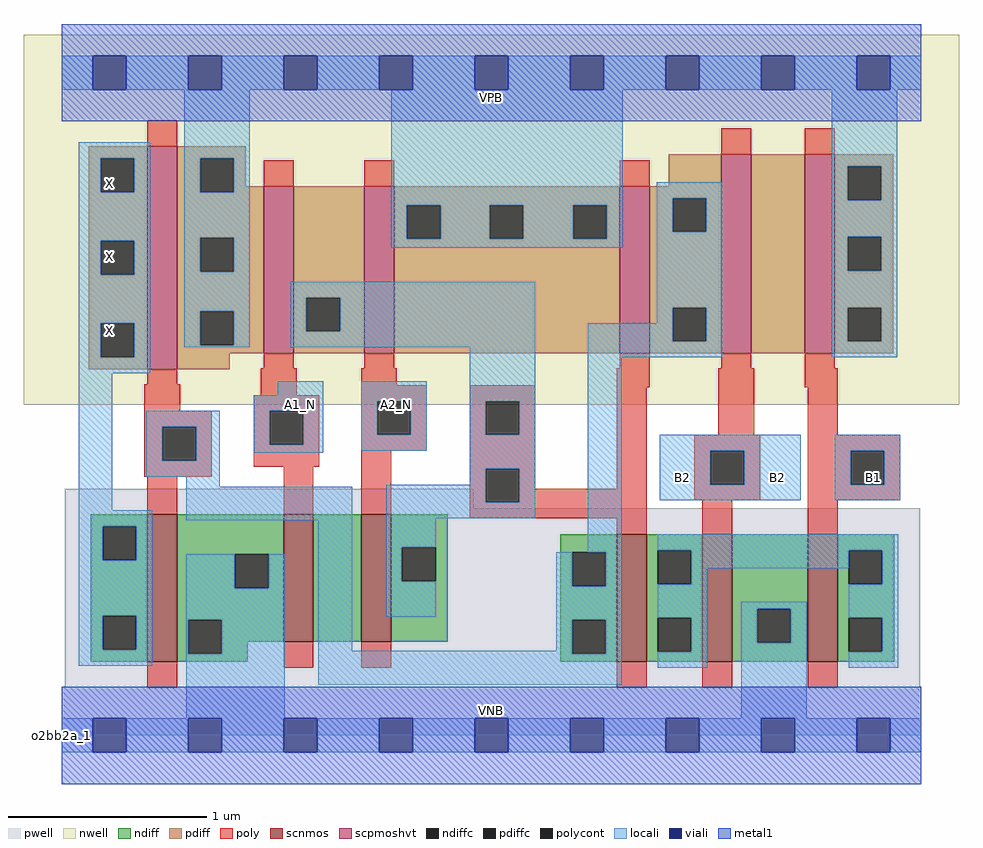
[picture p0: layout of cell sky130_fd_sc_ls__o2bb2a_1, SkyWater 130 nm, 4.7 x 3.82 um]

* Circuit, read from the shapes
.subckt sky130_fd_sc_ls__o2bb2a_1 A1_N A2_N B1 B2 VGND VNB VPB VPWR X
XM1 VGND n1 X VNB sky130_fd_pr__nfet_01v8 w=0.74 l=0.15
XM2 n2 A1_N VGND VNB sky130_fd_pr__nfet_01v8 w=0.64 l=0.15
XM3 n3 A2_N n2 VNB sky130_fd_pr__nfet_01v8 w=0.64 l=0.15
XM4 n4 n3 n1 VNB sky130_fd_pr__nfet_01v8 w=0.64 l=0.15
XM5 VGND B2 n4 VNB sky130_fd_pr__nfet_01v8 w=0.64 l=0.15
XM6 n4 B1 VGND VNB sky130_fd_pr__nfet_01v8 w=0.64 l=0.15
XM7 VPWR n1 X VPB sky130_fd_pr__pfet_01v8_hvt w=1.12 l=0.15
XM8 n3 A1_N VPWR VPB sky130_fd_pr__pfet_01v8_hvt w=0.84 l=0.15
XM9 VPWR A2_N n3 VPB sky130_fd_pr__pfet_01v8_hvt w=0.84 l=0.15
XM10 n1 n3 VPWR VPB sky130_fd_pr__pfet_01v8_hvt w=0.84 l=0.15
XM11 n5 B2 n1 VPB sky130_fd_pr__pfet_01v8_hvt w=1 l=0.15
XM12 VPWR B1 n5 VPB sky130_fd_pr__pfet_01v8_hvt w=1 l=0.15
.ends

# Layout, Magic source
magic
tech sky130A
magscale 1 2
<< nwell >>
rect -38 332 902 704
<< pwell >>
rect 3 228 414 248
rect 3 49 863 228
rect 0 0 864 49
<< scnmos >>
rect 86 74 116 222
rect 223 94 253 222
rect 301 94 331 222
rect 558 74 588 202
rect 644 74 674 202
rect 750 74 780 202
<< scpmoshvt >>
rect 86 368 116 592
rect 203 384 233 552
rect 304 384 334 552
rect 561 384 591 552
rect 663 384 693 584
rect 747 384 777 584
<< ndiff >>
rect 29 210 86 222
rect 29 176 41 210
rect 75 176 86 210
rect 29 120 86 176
rect 29 86 41 120
rect 75 86 86 120
rect 29 74 86 86
rect 116 182 223 222
rect 116 148 174 182
rect 208 148 223 182
rect 116 116 223 148
rect 116 82 127 116
rect 161 94 223 116
rect 253 94 301 222
rect 331 189 388 222
rect 331 155 342 189
rect 376 155 388 189
rect 331 94 388 155
rect 501 184 558 202
rect 501 150 513 184
rect 547 150 558 184
rect 501 116 558 150
rect 161 82 187 94
rect 116 74 187 82
rect 501 82 513 116
rect 547 82 558 116
rect 501 74 558 82
rect 588 186 644 202
rect 588 152 599 186
rect 633 152 644 186
rect 588 118 644 152
rect 588 84 599 118
rect 633 84 644 118
rect 588 74 644 84
rect 674 127 750 202
rect 674 93 699 127
rect 733 93 750 127
rect 674 74 750 93
rect 780 186 837 202
rect 780 152 791 186
rect 825 152 837 186
rect 780 118 837 152
rect 780 84 791 118
rect 825 84 837 118
rect 780 74 837 84
<< pdiff >>
rect 27 580 86 592
rect 27 546 39 580
rect 73 546 86 580
rect 27 497 86 546
rect 27 463 39 497
rect 73 463 86 497
rect 27 414 86 463
rect 27 380 39 414
rect 73 380 86 414
rect 27 368 86 380
rect 116 580 185 592
rect 116 546 139 580
rect 173 552 185 580
rect 610 552 663 584
rect 173 546 203 552
rect 116 500 203 546
rect 116 466 139 500
rect 173 466 203 500
rect 116 426 203 466
rect 116 392 139 426
rect 173 392 203 426
rect 116 384 203 392
rect 233 440 304 552
rect 233 406 246 440
rect 280 406 304 440
rect 233 384 304 406
rect 334 533 561 552
rect 334 499 347 533
rect 381 499 430 533
rect 464 499 514 533
rect 548 499 561 533
rect 334 384 561 499
rect 591 540 663 552
rect 591 506 614 540
rect 648 506 663 540
rect 591 430 663 506
rect 591 396 614 430
rect 648 396 663 430
rect 591 384 663 396
rect 693 384 747 584
rect 777 572 836 584
rect 777 538 790 572
rect 824 538 836 572
rect 777 501 836 538
rect 777 467 790 501
rect 824 467 836 501
rect 777 430 836 467
rect 777 396 790 430
rect 824 396 836 430
rect 777 384 836 396
rect 116 368 169 384
<< ndiffc >>
rect 41 176 75 210
rect 41 86 75 120
rect 174 148 208 182
rect 127 82 161 116
rect 342 155 376 189
rect 513 150 547 184
rect 513 82 547 116
rect 599 152 633 186
rect 599 84 633 118
rect 699 93 733 127
rect 791 152 825 186
rect 791 84 825 118
<< pdiffc >>
rect 39 546 73 580
rect 39 463 73 497
rect 39 380 73 414
rect 139 546 173 580
rect 139 466 173 500
rect 139 392 173 426
rect 246 406 280 440
rect 347 499 381 533
rect 430 499 464 533
rect 514 499 548 533
rect 614 506 648 540
rect 614 396 648 430
rect 790 538 824 572
rect 790 467 824 501
rect 790 396 824 430
<< poly >>
rect 86 592 116 618
rect 663 584 693 610
rect 747 584 777 610
rect 203 552 233 578
rect 304 552 334 578
rect 561 552 591 578
rect 203 369 233 384
rect 304 369 334 384
rect 561 369 591 384
rect 663 369 693 384
rect 747 369 777 384
rect 86 353 116 368
rect 83 326 119 353
rect 200 342 236 369
rect 301 352 337 369
rect 193 326 259 342
rect 83 310 151 326
rect 83 276 101 310
rect 135 276 151 310
rect 83 260 151 276
rect 193 292 209 326
rect 243 292 259 326
rect 193 270 259 292
rect 301 336 367 352
rect 301 302 317 336
rect 351 302 367 336
rect 301 286 367 302
rect 410 336 476 352
rect 410 302 426 336
rect 460 302 476 336
rect 86 222 116 260
rect 223 222 253 270
rect 301 222 331 286
rect 410 268 476 302
rect 410 234 426 268
rect 460 248 476 268
rect 558 350 591 369
rect 558 248 588 350
rect 660 302 696 369
rect 747 350 780 369
rect 750 302 780 350
rect 460 234 588 248
rect 636 286 702 302
rect 636 252 652 286
rect 686 252 702 286
rect 636 236 702 252
rect 750 286 843 302
rect 750 252 793 286
rect 827 252 843 286
rect 750 236 843 252
rect 410 218 588 234
rect 558 202 588 218
rect 644 202 674 236
rect 750 202 780 236
rect 86 48 116 74
rect 223 68 253 94
rect 301 68 331 94
rect 558 48 588 74
rect 644 48 674 74
rect 750 48 780 74
<< polycont >>
rect 101 276 135 310
rect 209 292 243 326
rect 317 302 351 336
rect 426 302 460 336
rect 426 234 460 268
rect 652 252 686 286
rect 793 252 827 286
<< locali >>
rect 0 649 31 683
rect 65 649 127 683
rect 161 649 223 683
rect 257 649 319 683
rect 353 649 415 683
rect 449 649 511 683
rect 545 649 607 683
rect 641 649 703 683
rect 737 649 799 683
rect 833 649 864 683
rect 17 580 89 596
rect 17 546 39 580
rect 73 546 89 580
rect 17 497 89 546
rect 17 463 39 497
rect 73 463 89 497
rect 17 414 89 463
rect 17 380 39 414
rect 73 380 89 414
rect 123 580 189 649
rect 123 546 139 580
rect 173 546 189 580
rect 123 500 189 546
rect 123 466 139 500
rect 173 466 189 500
rect 331 533 564 649
rect 774 572 840 649
rect 331 499 347 533
rect 381 499 430 533
rect 464 499 514 533
rect 548 499 564 533
rect 331 490 564 499
rect 598 540 664 556
rect 598 506 614 540
rect 648 506 664 540
rect 123 426 189 466
rect 123 392 139 426
rect 173 392 189 426
rect 123 390 189 392
rect 230 440 476 456
rect 230 406 246 440
rect 280 406 476 440
rect 598 430 664 506
rect 598 414 614 430
rect 230 390 476 406
rect 17 364 89 380
rect 17 226 51 364
rect 217 342 263 356
rect 193 326 263 342
rect 85 310 159 326
rect 85 276 101 310
rect 135 276 159 310
rect 193 292 209 326
rect 243 292 263 326
rect 193 284 263 292
rect 301 336 367 356
rect 301 302 317 336
rect 351 302 367 336
rect 301 286 367 302
rect 410 336 476 390
rect 410 302 426 336
rect 460 302 476 336
rect 85 260 159 276
rect 125 250 159 260
rect 410 268 476 302
rect 410 252 426 268
rect 17 210 91 226
rect 125 216 292 250
rect 17 176 41 210
rect 75 176 91 210
rect 17 120 91 176
rect 17 86 41 120
rect 75 86 91 120
rect 17 70 91 86
rect 125 148 174 182
rect 208 148 224 182
rect 125 116 224 148
rect 125 82 127 116
rect 161 82 224 116
rect 125 17 224 82
rect 258 85 292 216
rect 326 234 426 252
rect 460 234 476 268
rect 326 218 476 234
rect 529 396 614 414
rect 648 396 664 430
rect 529 380 664 396
rect 774 538 790 572
rect 824 538 840 572
rect 774 501 840 538
rect 774 467 790 501
rect 824 467 840 501
rect 774 430 840 467
rect 774 396 790 430
rect 824 396 840 430
rect 774 380 840 396
rect 326 189 376 218
rect 326 155 342 189
rect 529 184 563 380
rect 601 286 743 302
rect 601 252 652 286
rect 686 252 743 286
rect 601 236 743 252
rect 777 286 843 302
rect 777 252 793 286
rect 827 252 843 286
rect 777 236 843 252
rect 326 119 376 155
rect 497 150 513 184
rect 547 150 563 184
rect 497 116 563 150
rect 497 85 513 116
rect 258 82 513 85
rect 547 82 563 116
rect 258 51 563 82
rect 599 186 841 202
rect 633 168 791 186
rect 633 152 649 168
rect 599 118 649 152
rect 825 152 841 186
rect 633 84 649 118
rect 599 68 649 84
rect 683 127 749 134
rect 683 93 699 127
rect 733 93 749 127
rect 683 17 749 93
rect 791 118 841 152
rect 825 84 841 118
rect 791 68 841 84
rect 0 -17 31 17
rect 65 -17 127 17
rect 161 -17 223 17
rect 257 -17 319 17
rect 353 -17 415 17
rect 449 -17 511 17
rect 545 -17 607 17
rect 641 -17 703 17
rect 737 -17 799 17
rect 833 -17 864 17
<< viali >>
rect 31 649 65 683
rect 127 649 161 683
rect 223 649 257 683
rect 319 649 353 683
rect 415 649 449 683
rect 511 649 545 683
rect 607 649 641 683
rect 703 649 737 683
rect 799 649 833 683
rect 31 -17 65 17
rect 127 -17 161 17
rect 223 -17 257 17
rect 319 -17 353 17
rect 415 -17 449 17
rect 511 -17 545 17
rect 607 -17 641 17
rect 703 -17 737 17
rect 799 -17 833 17
<< metal1 >>
rect 0 683 864 715
rect 0 649 31 683
rect 65 649 127 683
rect 161 649 223 683
rect 257 649 319 683
rect 353 649 415 683
rect 449 649 511 683
rect 545 649 607 683
rect 641 649 703 683
rect 737 649 799 683
rect 833 649 864 683
rect 0 617 864 649
rect 0 17 864 49
rect 0 -17 31 17
rect 65 -17 127 17
rect 161 -17 223 17
rect 257 -17 319 17
rect 353 -17 415 17
rect 449 -17 511 17
rect 545 -17 607 17
rect 641 -17 703 17
rect 737 -17 799 17
rect 833 -17 864 17
rect 0 -49 864 -17
<< labels >>
rlabel comment s 0 0 0 0 4 o2bb2a_1
flabel pwell s 0 0 864 49 0 FreeSans 200 0 0 0 VNB
port 6 nsew ground bidirectional
flabel nwell s 0 617 864 666 0 FreeSans 200 0 0 0 VPB
port 7 nsew power bidirectional
flabel metal1 s 0 617 864 666 0 FreeSans 340 0 0 0 VPWR
port 8 nsew power bidirectional abutment
flabel metal1 s 0 0 864 49 0 FreeSans 340 0 0 0 VGND
port 5 nsew ground bidirectional abutment
flabel locali s 607 242 641 276 0 FreeSans 340 0 0 0 B2
port 4 nsew signal input
flabel locali s 703 242 737 276 0 FreeSans 340 0 0 0 B2
port 4 nsew signal input
flabel locali s 319 316 353 350 0 FreeSans 340 0 0 0 A2_N
port 2 nsew signal input
flabel locali s 31 390 65 424 0 FreeSans 340 0 0 0 X
port 9 nsew signal output
flabel locali s 31 464 65 498 0 FreeSans 340 0 0 0 X
port 9 nsew signal output
flabel locali s 31 538 65 572 0 FreeSans 340 0 0 0 X
port 9 nsew signal output
flabel locali s 799 242 833 276 0 FreeSans 340 0 0 0 B1
port 3 nsew signal input
flabel locali s 223 316 257 350 0 FreeSans 340 0 0 0 A1_N
port 1 nsew signal input
<< properties >>
string LEFsite unit
string LEFclass CORE
string FIXED_BBOX 0 0 864 666
string GDS_FILE $PDKPATH/libs.ref/sky130_fd_sc_ls/gds/sky130_fd_sc_ls.gds
string LEFsymmetry X Y
string GDS_END 2323910
string GDS_START 2316036
<< end >>
